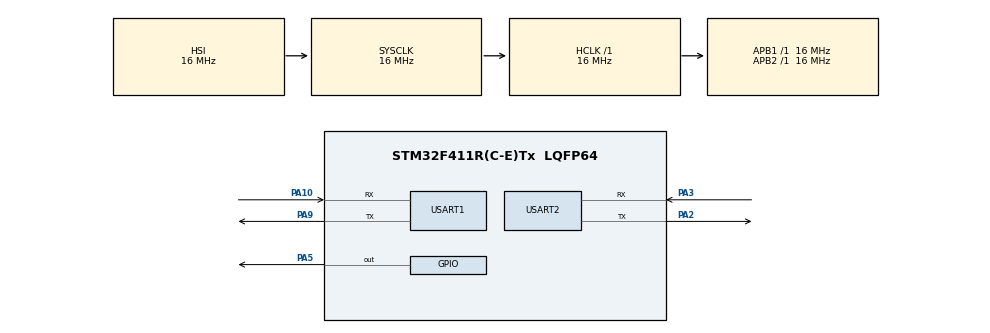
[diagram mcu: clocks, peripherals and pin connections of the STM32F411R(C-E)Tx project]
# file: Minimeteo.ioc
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Mcu.Family=STM32F4
Mcu.Name=STM32F411R(C-E)Tx
Mcu.Package=LQFP64
NVIC.PriorityGroup=NVIC_PRIORITYGROUP_4
NVIC.USART1_IRQn=true\:0\:0\:false\:false\:true\:true\:true\:true
PA10.Mode=Asynchronous
PA10.Signal=USART1_RX
PA2.Mode=Asynchronous
PA2.Signal=USART2_TX
PA3.Mode=Asynchronous
PA3.Signal=USART2_RX
PA5.Signal=GPIO_Output
PA9.Mode=Asynchronous
PA9.Signal=USART1_TX
ProjectManager.HeapSize=0x200
ProjectManager.StackSize=0x400
ProjectManager.TargetToolchain=Makefile
RCC.AHBFreq_Value=16000000
RCC.APB1Freq_Value=16000000
RCC.APB2Freq_Value=16000000
RCC.CortexFreq_Value=16000000
RCC.HSE_VALUE=25000000
RCC.HSI_VALUE=16000000
RCC.LSE_VALUE=32768
RCC.SYSCLKFreq_VALUE=16000000
RCC.VCOOutputFreq_Value=192000000
USART1.VirtualMode=VM_ASYNC
USART2.VirtualMode=VM_ASYNC
board=custom

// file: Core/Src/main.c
/* USER CODE BEGIN Header */
/**
  ******************************************************************************
  * @file           : main.c
  * @brief          : Main program body
  * @author         : Unai Fernandez
  ******************************************************************************
  * @attention
  *
  * Copyright (c) 2024 STMicroelectronics.
  * All rights reserved.
  *
  * This software is licensed under terms that can be found in the LICENSE file
  * in the root directory of this software component.
  * If no LICENSE file comes with this software, it is provided AS-IS.
  *
  ******************************************************************************
  */
/* USER CODE END Header */
#include "main.h"
#include "defines.h"

UART_HandleTypeDef huart1;
UART_HandleTypeDef huart2;

void SystemClock_Config(void);
static void MX_GPIO_Init(void);
static void MX_USART2_UART_Init(void);
static void MX_USART1_UART_Init(void);

/* USER CODE BEGIN 0 */
void led_toggle(uint8_t led);
uint8_t rx_buff[80];
/* USER CODE END 0 */

int main(void)
{

  /* MCU Configuration--------------------------------------------------------*/

  /* Reset of all peripherals, Initializes the Flash interface and the Systick. */
  HAL_Init();

  /* Configure the system clock */
  SystemClock_Config();

  /* Initialize all configured peripherals */
  MX_GPIO_Init();
  MX_USART2_UART_Init();
  MX_USART1_UART_Init();
  /* USER CODE BEGIN 2 */
  HAL_Delay(3000);

  uint8_t command[] = "AT+RST\r\n";
  HAL_UART_Transmit(&huart1, command, sizeof(command), 10);
  HAL_GPIO_TogglePin(GPIOA, GPIO_PIN_5);

  HAL_UART_Receive_IT(&huart1, rx_buff, 20);

  //HAL_UART_Transmit(&huart2, "Hola buenas!\n\r", 14, 10);
  HAL_UART_Transmit(&huart2, "MINIMETEO\n\r", 11, 100);
  HAL_UART_Transmit(&huart2, rx_buff, sizeof(rx_buff), 100);

  //int r = send_command(&huart1,&huart2, command);

  int r = AT_hello(&huart1);
    if (r == 0)
	HAL_UART_Transmit(&huart2, "-->OK\n\r", 7, 100);
    else
	HAL_UART_Transmit(&huart2, "-->ERR\n\r", 8, 100);

  /* USER CODE END 2 */

  /* Infinite loop */
    while (1)
  {

    /* USER CODE BEGIN 3 */
    //uint8_t Test[] = "Hello World !!!\r\n"; //Data to send
    //HAL_UART_Transmit(&huart2,Test,sizeof(Test),10);// Sending in normal mode
    //HAL_GPIO_TogglePin(GPIOA, GPIO_PIN_5);

    //HAL_Delay(1000);
  }
  /* USER CODE END 3 */
}

void SystemClock_Config(void)
{
  RCC_OscInitTypeDef RCC_OscInitStruct = {0};
  RCC_ClkInitTypeDef RCC_ClkInitStruct = {0};

  /** Configure the main internal regulator output voltage
  */
  __HAL_RCC_PWR_CLK_ENABLE();
  __HAL_PWR_VOLTAGESCALING_CONFIG(PWR_REGULATOR_VOLTAGE_SCALE1);

  /** Initializes the RCC Oscillators according to the specified parameters
  * in the RCC_OscInitTypeDef structure.
  */
  RCC_OscInitStruct.OscillatorType = RCC_OSCILLATORTYPE_HSI;
  RCC_OscInitStruct.HSIState = RCC_HSI_ON;
  RCC_OscInitStruct.HSICalibrationValue = RCC_HSICALIBRATION_DEFAULT;
  RCC_OscInitStruct.PLL.PLLState = RCC_PLL_NONE;
  if (HAL_RCC_OscConfig(&RCC_OscInitStruct) != HAL_OK)
  {
    Error_Handler();
  }

  /** Initializes the CPU, AHB and APB buses clocks
  */
  RCC_ClkInitStruct.ClockType = RCC_CLOCKTYPE_HCLK|RCC_CLOCKTYPE_SYSCLK
                              |RCC_CLOCKTYPE_PCLK1|RCC_CLOCKTYPE_PCLK2;
  RCC_ClkInitStruct.SYSCLKSource = RCC_SYSCLKSOURCE_HSI;
  RCC_ClkInitStruct.AHBCLKDivider = RCC_SYSCLK_DIV1;
  RCC_ClkInitStruct.APB1CLKDivider = RCC_HCLK_DIV1;
  RCC_ClkInitStruct.APB2CLKDivider = RCC_HCLK_DIV1;

  if (HAL_RCC_ClockConfig(&RCC_ClkInitStruct, FLASH_LATENCY_0) != HAL_OK)
  {
    Error_Handler();
  }
}

static void MX_USART1_UART_Init(void)
{

  huart1.Instance = USART1;
  huart1.Init.BaudRate = 115200;
  huart1.Init.WordLength = UART_WORDLENGTH_8B;
  huart1.Init.StopBits = UART_STOPBITS_1;
  huart1.Init.Parity = UART_PARITY_NONE;
  huart1.Init.Mode = UART_MODE_TX_RX;
  huart1.Init.HwFlowCtl = UART_HWCONTROL_NONE;
  huart1.Init.OverSampling = UART_OVERSAMPLING_16;
  if (HAL_UART_Init(&huart1) != HAL_OK)
  {
    Error_Handler();
  }

}

static void MX_USART2_UART_Init(void)
{

  huart2.Instance = USART2;
  huart2.Init.BaudRate = 115200;
  huart2.Init.WordLength = UART_WORDLENGTH_8B;
  huart2.Init.StopBits = UART_STOPBITS_1;
  huart2.Init.Parity = UART_PARITY_NONE;
  huart2.Init.Mode = UART_MODE_TX_RX;
  huart2.Init.HwFlowCtl = UART_HWCONTROL_NONE;
  huart2.Init.OverSampling = UART_OVERSAMPLING_16;
  if (HAL_UART_Init(&huart2) != HAL_OK)
  {
    Error_Handler();
  }

}

static void MX_GPIO_Init(void)
{
  GPIO_InitTypeDef GPIO_InitStruct = {0};

  /* GPIO Ports Clock Enable */
  __HAL_RCC_GPIOA_CLK_ENABLE();

  /*Configure GPIO pin Output Level */
  HAL_GPIO_WritePin(GPIOA, GPIO_PIN_5, GPIO_PIN_RESET);

  /*Configure GPIO pin : PA5 */
  GPIO_InitStruct.Pin = GPIO_PIN_5;
  GPIO_InitStruct.Mode = GPIO_MODE_OUTPUT_PP;
  GPIO_InitStruct.Pull = GPIO_NOPULL;
  GPIO_InitStruct.Speed = GPIO_SPEED_FREQ_LOW;
  HAL_GPIO_Init(GPIOA, &GPIO_InitStruct);

}

/* USER CODE BEGIN 4 */
void HAL_UART_RxCpltCallback(UART_HandleTypeDef *huart){
  HAL_UART_Receive_IT(huart, rx_buff, 10);
}
/* USER CODE END 4 */

void Error_Handler(void)
{
  __disable_irq();
  while (1)
  {
  }
}
